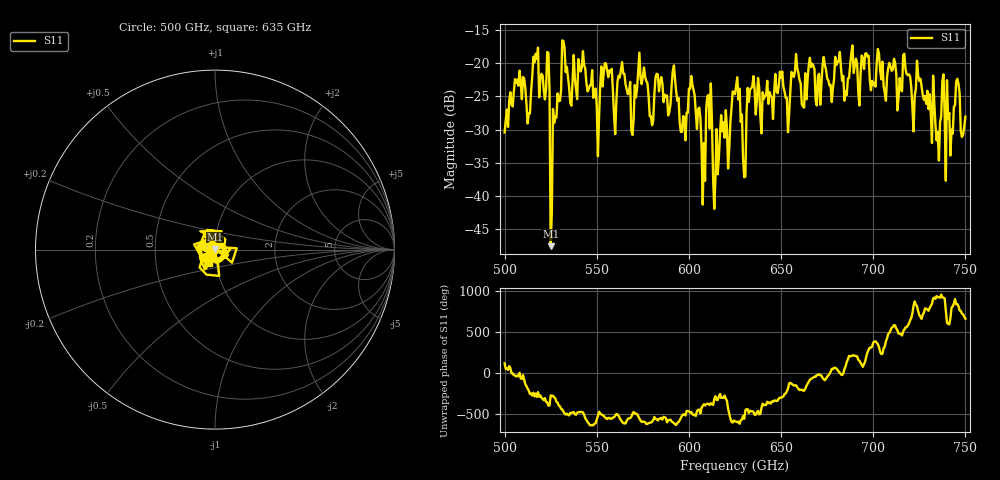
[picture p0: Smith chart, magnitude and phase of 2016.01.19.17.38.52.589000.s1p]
!Created with skrf (http://scikit-rf.org).
# GHz S RI R 50.0
!freq ReS11 ImS11
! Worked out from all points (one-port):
!   401 points, 500 GHz to 750 GHz, reference 50 ohm
!   lowest |S11| = -47.5 dB at 525 GHz (marker M1), VSWR 1.01, Z = 50 + j0.42 ohm
!   |S11| at or under -10 dB: start of sweep to end of sweep
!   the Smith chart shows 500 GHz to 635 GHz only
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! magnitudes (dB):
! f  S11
! 500 GHz  -30.4
! 506.9 GHz  -22.5
! 513.1 GHz  -27.5
! 516.9 GHz  -18.6
! 523.1 GHz  -18.3
! 525 GHz  -47.5
! 526.2 GHz  -26.9
! 531.2 GHz  -16.6
! 550 GHz  -26.5
! 562.5 GHz  -22.1
! 570 GHz  -28.5
! 574.4 GHz  -23.1
! 579.4 GHz  -27.9
! 593.8 GHz  -25.6
! 596.9 GHz  -27.9
! 601.9 GHz  -23.2
! 607.5 GHz  -41.3
! 610.6 GHz  -24.8
! 614.4 GHz  -37.4
! 625 GHz  -24.7
! 629.4 GHz  -34.4
! 634.4 GHz  -23.5
! 656.2 GHz  -21.5
! 687.5 GHz  -20.3
! 718.8 GHz  -21.8
! 735 GHz  -30.4
! 745.6 GHz  -22.3
! 750 GHz  -28.0
